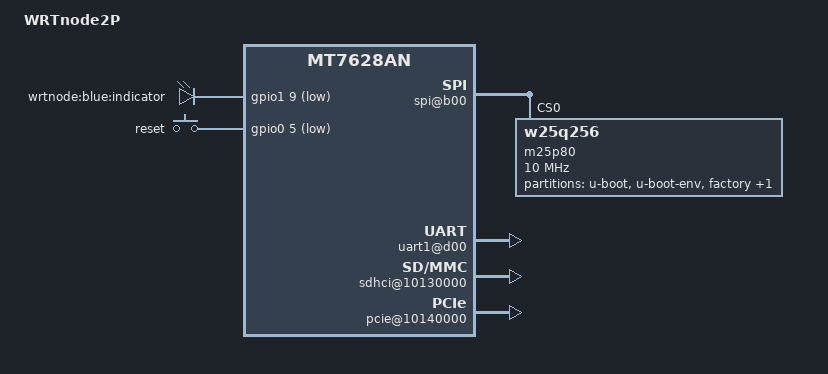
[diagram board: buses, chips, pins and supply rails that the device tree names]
/dts-v1/;

/include/ "mt7628an.dtsi"

/ {
	compatible = "mediatek,wrtnode2p", "mediatek,mt7628an-soc";
	model = "WRTnode2P";


	pinctrl {
		state_default: pinctrl0 {
			gpio {
				ralink,group = "i2c", "gpio", "jtag";
				ralink,function = "gpio";
			};
		};
	};

	palmbus@10000000 {
		spi@b00 {
			status = "okay";

			m25p80@0 {
				#address-cells = <1>;
				#size-cells = <1>;
				compatible = "w25q256";
				reg = <0 0>;
				linux,modalias = "m25p80", "w25q256";
				spi-max-frequency = <10000000>;
				m25p,chunked-io = <32>;

				partition@0 {
					label = "u-boot";
					reg = <0x0 0x30000>;
					read-only;
				};

				partition@30000 {
					label = "u-boot-env";
					reg = <0x30000 0x10000>;
					read-only;
				};

				factory: partition@40000 {
					label = "factory";
					reg = <0x40000 0x10000>;
					read-only;
				};

				partition@50000 {
					label = "firmware";
					reg = <0x50000 0x1fb0000>;
				};
			};
		};

		uart1@d00 {
			status = "okay";
		};

	};

	ethernet@10100000 {
		mtd-mac-address = <&factory 0x4>;
		ralink,port-map = "llllw";
	};

	sdhci@10130000 {
		status = "okay";
	};

	pcie@10140000 {
		status = "okay";
	};

	gpio-leds {
		compatible = "gpio-leds";
		indicator {
			label = "wrtnode:blue:indicator";
			gpios = <&gpio1 9 1>;
		};
	}; 


	gpio-keys-polled {
		compatible = "gpio-keys-polled";
		#address-cells = <1>;
		#size-cells = <0>;
		poll-interval = <20>;
		reset {
			label = "reset";
			gpios = <&gpio0 5 1>;
			linux,code = <0x198>;
		};
	};
};

